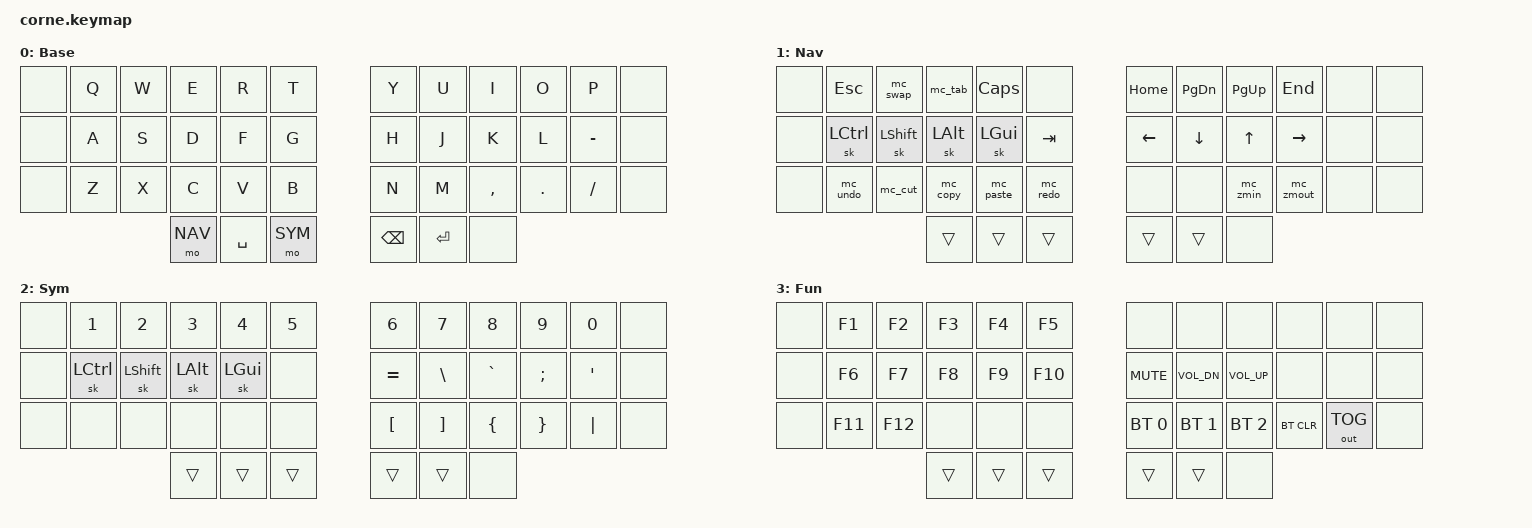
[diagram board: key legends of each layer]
/*
 * Corne 36-key OSM keymap
 * hold-tap 完全排除、Callum式 One-Shot ベース
 * Atreus と同じ設計
 */

#include <behaviors.dtsi>
#include <dt-bindings/zmk/bt.h>
#include <dt-bindings/zmk/keys.h>
#include <dt-bindings/zmk/outputs.h>

#define BASE 0
#define NAV  1
#define SYM  2
#define FUN  3

/ {
    // --- Macros ---
    macros {
        // Swapper（Cmd+Tab: キーを離すまでCmdを保持）
        mc_swap: mc_swap {
            compatible = "zmk,behavior-macro";
            #binding-cells = <0>;
            wait-ms = <30>;
            tap-ms = <30>;
            bindings = <&macro_press &kp LGUI>, <&macro_tap &kp TAB>, <&macro_pause_for_release>, <&macro_release &kp LGUI>;
        };
        // Tabber（Ctrl+Tab: キーを離すまでCtrlを保持）
        mc_tab: mc_tab {
            compatible = "zmk,behavior-macro";
            #binding-cells = <0>;
            wait-ms = <30>;
            tap-ms = <30>;
            bindings = <&macro_press &kp LCTRL>, <&macro_tap &kp TAB>, <&macro_pause_for_release>, <&macro_release &kp LCTRL>;
        };
        // Undo (Cmd+Z)
        mc_undo: mc_undo {
            compatible = "zmk,behavior-macro";
            #binding-cells = <0>;
            wait-ms = <30>;
            tap-ms = <30>;
            bindings = <&macro_press &kp LGUI>, <&macro_tap &kp Z>, <&macro_release &kp LGUI>;
        };
        // Cut (Cmd+X)
        mc_cut: mc_cut {
            compatible = "zmk,behavior-macro";
            #binding-cells = <0>;
            wait-ms = <30>;
            tap-ms = <30>;
            bindings = <&macro_press &kp LGUI>, <&macro_tap &kp X>, <&macro_release &kp LGUI>;
        };
        // Copy (Cmd+C)
        mc_copy: mc_copy {
            compatible = "zmk,behavior-macro";
            #binding-cells = <0>;
            wait-ms = <30>;
            tap-ms = <30>;
            bindings = <&macro_press &kp LGUI>, <&macro_tap &kp C>, <&macro_release &kp LGUI>;
        };
        // Paste (Cmd+V)
        mc_paste: mc_paste {
            compatible = "zmk,behavior-macro";
            #binding-cells = <0>;
            wait-ms = <30>;
            tap-ms = <30>;
            bindings = <&macro_press &kp LGUI>, <&macro_tap &kp V>, <&macro_release &kp LGUI>;
        };
        // Redo (Cmd+Shift+Z)
        mc_redo: mc_redo {
            compatible = "zmk,behavior-macro";
            #binding-cells = <0>;
            wait-ms = <30>;
            tap-ms = <30>;
            bindings = <&macro_press &kp LGUI>, <&macro_press &kp LSHFT>, <&macro_tap &kp Z>, <&macro_release &kp LSHFT>, <&macro_release &kp LGUI>;
        };
        // Zoom In (Cmd+=)
        mc_zmin: mc_zmin {
            compatible = "zmk,behavior-macro";
            #binding-cells = <0>;
            wait-ms = <30>;
            tap-ms = <30>;
            bindings = <&macro_press &kp LGUI>, <&macro_tap &kp EQUAL>, <&macro_release &kp LGUI>;
        };
        // Zoom Out (Cmd+-)
        mc_zmout: mc_zmout {
            compatible = "zmk,behavior-macro";
            #binding-cells = <0>;
            wait-ms = <30>;
            tap-ms = <30>;
            bindings = <&macro_press &kp LGUI>, <&macro_tap &kp MINUS>, <&macro_release &kp LGUI>;
        };
    };

    // --- Combos ---
    // Corne key positions:
    // Row 0:  0  1  2  3  4  5  |  6  7  8  9 10 11
    // Row 1: 12 13 14 15 16 17  | 18 19 20 21 22 23
    // Row 2: 24 25 26 27 28 29  | 30 31 32 33 34 35
    // Thumb:       36 37 38     |    39 40 41
    //            NAV SPC SYM    | BSPC ENT ---
    combos {
        compatible = "zmk,combos";


        // J + K → Caps Word（2026-11-12 緒方さん指示でコンボ化）
        // 旧: NAV層のキーに置いていた / 旧 D+F の tmux prefix コンボは廃止（「pdf」で誤発火）
        combo_caps_word {
            timeout-ms = <80>;
            require-prior-idle-ms = <150>;
            key-positions = <19 20>;
            bindings = <&caps_word>;
            layers = <BASE>;
        };

        // SPC(37) + BSPC(39) → LNG1 (IME ON)
        combo_lng1 {
            timeout-ms = <50>;
            require-prior-idle-ms = <150>;
            key-positions = <37 39>;
            bindings = <&kp LANGUAGE_1>;
            layers = <BASE>;
        };

        // BSPC(39) + ENT(40) → LNG2 (IME OFF)
        combo_lng2 {
            timeout-ms = <50>;
            require-prior-idle-ms = <150>;
            key-positions = <39 40>;
            bindings = <&kp LANGUAGE_2>;
            layers = <BASE>;
        };


        // --- ブートローダー / リセット（物理リセットボタンの代替・艦隊共通設計） ---
        // 「上段最外列 ＋ 下段最内列」は共通で、**親指だけずらして**切り替える。
        //   親指内側          → &bootloader（焼き用・リセット2回押し相当）
        // ⚠️ 親指の物理配置（2026-11-12 緒方さん確認。キーマップの並び順と内外が逆）:
        //     左手 [NAV][SPC][SYM] │ 中央 │ [BSPC][ENT] 右手
        //           外側 →→→ 内側          内側 ←←← 外側
        //   ＝ **内側(中央寄り)は 左=SYM / 右=BSPC**。NAV は左の一番外側。
        //   親指内側から2番目 → &sys_reset （再起動・1回押し相当）
        // ★各コンボは同一半身のキーのみで構成（片側だけUSB接続して焼く運用のため）。
        // ★layers 未指定＝全レイヤーで有効。3キーなので timeout は緩める。

        // bootloader — 左: 上段最外(0) + 下段最内(29) + SYM(38=親指内側＝中央寄り)
        combo_boot_left {
            timeout-ms = <100>;
            require-prior-idle-ms = <250>;
            key-positions = <0 29 38>;
            bindings = <&bootloader>;
        };

        // bootloader — 右: 上段最外(11) + 下段最内(30) + BSPC(39=親指内側＝中央寄り)
        combo_boot_right {
            timeout-ms = <100>;
            require-prior-idle-ms = <250>;
            key-positions = <11 30 39>;
            bindings = <&bootloader>;
        };

        // sys_reset — 左: 0 + 29 + SPC(37=内側から2番目)
        combo_reset_left {
            timeout-ms = <100>;
            require-prior-idle-ms = <250>;
            key-positions = <0 29 37>;
            bindings = <&sys_reset>;
        };

        // sys_reset — 右: 11 + 30 + ENT(40=内側から2番目)
        combo_reset_right {
            timeout-ms = <100>;
            require-prior-idle-ms = <250>;
            key-positions = <11 30 40>;
            bindings = <&sys_reset>;
        };
    };

    // --- Conditional Layer (NAV + SYM = FUN) ---
    conditional_layers {
        compatible = "zmk,conditional-layers";
        tri_layer {
            if-layers = <NAV SYM>;
            then-layer = <FUN>;
        };
    };

    // --- Keymap ---
    keymap {
        compatible = "zmk,keymap";

        // Base Layer
        //   Q    W    E    R    T  │  Y    U    I    O    P
        //   A    S    D    F    G  │  H    J    K    L    -
        //   Z    X    C    V    B  │  N    M    ,    .    /
        //             NAV  SPC SYM │  BSPC ENT  ---
        BASE_layer {
            display-name = "Base";
            bindings = <
&none  &kp Q  &kp W  &kp E     &kp R    &kp T        &kp Y     &kp U    &kp I      &kp O    &kp P      &none
&none  &kp A  &kp S  &kp D     &kp F    &kp G        &kp H     &kp J    &kp K      &kp L    &kp MINUS  &none
&none  &kp Z  &kp X  &kp C     &kp V    &kp B        &kp N     &kp M    &kp COMMA  &kp DOT  &kp FSLH   &none
                     &mo NAV   &kp SPC  &mo SYM      &kp BSPC  &kp RET  &none
            >;
        };

        // NAV Layer（左内側親指）
        //   ESC  SWAP STAB CAPS ---  │  HOME PGDN PGUP END  ---
        //   skCTL skSFT skALT skGUI TAB│ LEFT DOWN UP  RGHT ---
        //   UNDO CUT  COPY PST REDO │  ---  ---  ZM+  ZM-  ---
        //             ___  ___  ___ │  ___  ___  ---
        NAV_layer {
            display-name = "Nav";
            bindings = <
&none  &kp ESC      &mc_swap   &mc_tab    &kp CAPS    &none          &kp HOME  &kp PG_DN  &kp PG_UP  &kp END    &none      &none
&none  &sk LCTRL    &sk LSHFT  &sk LALT   &sk LGUI    &kp TAB        &kp LEFT  &kp DOWN   &kp UP     &kp RIGHT  &none      &none
&none  &mc_undo     &mc_cut    &mc_copy   &mc_paste   &mc_redo       &none     &none      &mc_zmin   &mc_zmout  &none      &none
                               &trans     &trans      &trans         &trans    &trans     &none
            >;
        };

        // SYM Layer（左外側親指）
        //   1    2    3    4    5  │  6    7    8    9    0
        //   skCTL skSFT skALT skGUI --- │  =    \    `    ;    '
        //   ---  ---  ---  ---  ---│  [    ]    {    }    |
        //             ___  ___  ___│  ___  ___  ---
        SYM_layer {
            display-name = "Sym";
            bindings = <
&none  &kp N1     &kp N2     &kp N3    &kp N4    &kp N5       &kp N6    &kp N7    &kp N8    &kp N9    &kp N0    &none
&none  &sk LCTRL  &sk LSHFT  &sk LALT  &sk LGUI  &none        &kp EQUAL &kp BSLH  &kp GRAVE &kp SEMI  &kp SQT   &none
&none  &none      &none      &none     &none     &none        &kp LBKT  &kp RBKT  &kp LBRC  &kp RBRC  &kp PIPE  &none
                             &trans    &trans    &trans       &trans    &trans    &none
            >;
        };

        // FUN Layer（NAV + SYM 同時）
        //   F1   F2   F3   F4   F5 │  ---  ---  ---  ---  ---
        //   F6   F7   F8   F9   F10│  MUTE VOLD VOLU ---  ---
        //   F11  F12  ---  ---  ---│  BT0  BT1  BT2  BTCLR OUTTOG
        //             ___  ___  ___│  ___  ___  ---
        FUN_layer {
            display-name = "Fun";
            bindings = <
&none  &kp F1   &kp F2   &kp F3  &kp F4  &kp F5       &none         &none         &none         &none       &none       &none
&none  &kp F6   &kp F7   &kp F8  &kp F9  &kp F10      &kp K_MUTE    &kp K_VOL_DN  &kp K_VOL_UP  &none       &none       &none
&none  &kp F11  &kp F12  &none   &none   &none        &bt BT_SEL 0  &bt BT_SEL 1  &bt BT_SEL 2  &bt BT_CLR  &out OUT_TOG &none
                         &trans  &trans  &trans       &trans        &trans        &none
            >;
        };
    };
};

// --- One-Shot Modifier 設定 ---
&sk {
    release-after-ms = <2000>;
};
